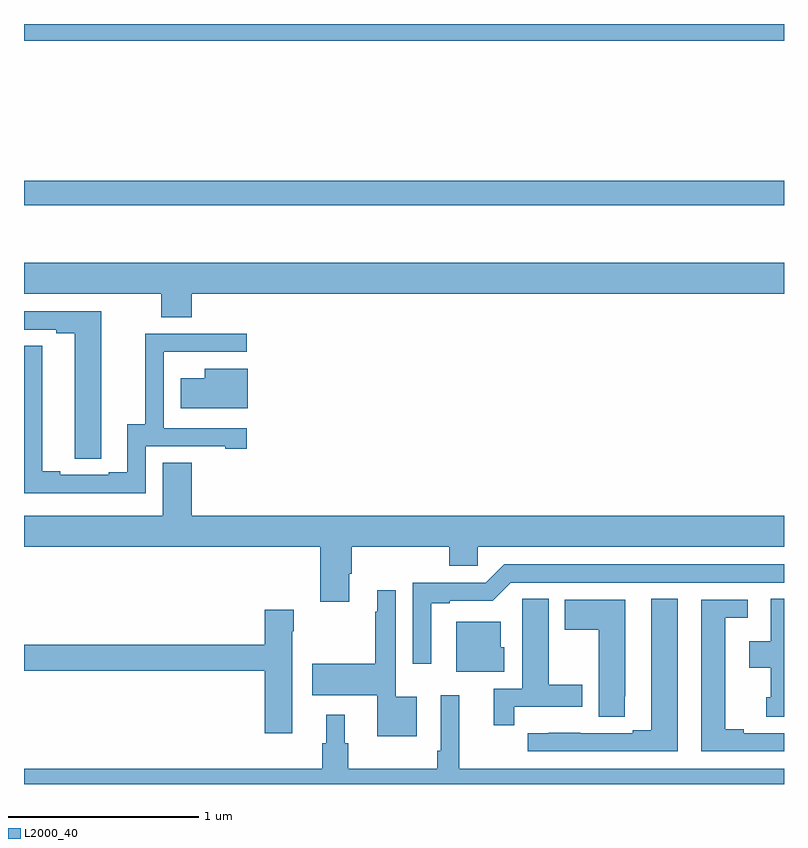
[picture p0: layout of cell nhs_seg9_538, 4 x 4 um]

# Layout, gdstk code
import gdstk
lib = gdstk.Library(unit=1e-6, precision=1e-09)
def R(c, l, rs):  # rectangles x0, y0, x1, y1
    for r in rs: c.add(gdstk.rectangle(r[:2], r[2:], *l))
def P(c, l, *ps):  # polygons
    for p in ps: c.add(gdstk.Polygon(p, *l))
L2000_40 = (2000, 40)

nhs_seg9_538 = lib.new_cell('nhs_seg9_538')
R(nhs_seg9_538, L2000_40, [(137,1203.546,141,1203.674), (137,1204.412,141,1204.5)])
P(nhs_seg9_538, L2000_40, [(137.882,1203.08),(141,1203.08),(141,1203.244),(137,1203.244),(137,1203.08),(137.722,1203.08),(137.722,1202.956),(137.882,1202.956)],
  [(137.406,1202.32),(137.407,1202.32),(137.407,1202.988),(137,1202.988),(137,1202.892),(137.171,1202.892),(137.171,1202.872),(137.267,1202.872),(137.267,1202.212),(137.406,1202.212)],
  [(137.64,1202.277),(138.059,1202.277),(138.059,1202.265),(138.172,1202.265),(138.172,1202.373),(137.736,1202.373),(137.736,1202.774),(137.738,1202.774),(137.738,1202.775),(138.172,1202.775),(138.172,1202.871),(137.638,1202.871),(137.638,1202.393),(137.543,1202.393),(137.543,1202.142),(137.447,1202.142),(137.447,1202.127),(137.191,1202.127),(137.191,1202.147),(137.095,1202.147),(137.095,1202.807),(137,1202.807),(137,1202.031),(137.64,1202.031)],
  [(138.178,1202.686),(137.951,1202.686),(137.951,1202.635),(137.826,1202.635),(137.826,1202.477),(138.178,1202.477)],
  [(138.712,1201.606),(138.725,1201.606),(138.725,1201.748),(139.238,1201.748),(139.238,1201.65),(139.389,1201.65),(139.389,1201.748),(141,1201.748),(141,1201.912),(137.882,1201.912),(137.882,1202.192),(137.729,1202.192),(137.729,1201.912),(137,1201.912),(137,1201.748),(138.56,1201.748),(138.56,1201.458),(138.712,1201.458)],
  [(139.144,1201.452),(139.24,1201.452),(139.24,1201.464),(139.467,1201.464),(139.563,1201.56),(141,1201.56),(141,1201.656),(139.527,1201.656),(139.431,1201.56),(139.047,1201.56),(139.047,1201.134),(139.144,1201.134)],
  [(139.066,1200.958),(138.957,1200.958),(138.957,1201.519),(138.86,1201.519),(138.86,1201.406),(138.849,1201.406),(138.849,1201.134),(138.516,1201.134),(138.516,1200.968),(138.86,1200.968),(138.86,1200.752),(139.066,1200.752)],
  [(140.44,1201.475),(140.3,1201.475),(140.3,1200.783),(140.204,1200.783),(140.204,1200.768),(139.928,1200.768),(139.928,1200.769),(139.762,1200.769),(139.762,1200.768),(139.65,1200.768),(139.65,1200.672),(140.44,1200.672)],
  [(141,1201.475),(140.93,1201.475),(140.93,1201.252),(140.816,1201.252),(140.816,1201.112),(140.93,1201.112),(140.93,1200.957),(140.906,1200.957),(140.906,1200.855),(141,1200.855)],
  [(139.58,1200.906),(139.939,1200.906),(139.939,1201.023),(139.762,1201.023),(139.762,1201.475),(139.623,1201.475),(139.623,1201.364),(139.622,1201.364),(139.622,1201.002),(139.472,1201.002),(139.472,1200.81),(139.58,1200.81)],
  [(140.163,1200.961),(140.164,1200.961),(140.164,1201.471),(139.847,1201.471),(139.847,1201.312),(140.024,1201.312),(140.024,1200.853),(140.163,1200.853)],
  [(141,1200.768),(140.788,1200.768),(140.788,1200.788),(140.692,1200.788),(140.692,1201.374),(140.809,1201.374),(140.809,1201.47),(140.564,1201.47),(140.564,1200.672),(141,1200.672)],
  [(138.412,1201.304),(138.42,1201.304),(138.42,1201.417),(138.266,1201.417),(138.266,1201.232),(137,1201.232),(137,1201.096),(138.266,1201.096),(138.266,1200.768),(138.412,1200.768)],
  [(139.528,1201.221),(139.51,1201.221),(139.51,1201.354),(139.274,1201.354),(139.274,1201.091),(139.528,1201.091)],
  [(141,1200.58),(139.292,1200.58),(139.292,1200.967),(139.194,1200.967),(139.194,1200.676),(139.174,1200.676),(139.174,1200.58),(138.707,1200.58),(138.707,1200.714),(138.688,1200.714),(138.688,1200.865),(138.59,1200.865),(138.59,1200.714),(138.571,1200.714),(138.571,1200.58),(137,1200.58),(137,1200.5),(141,1200.5)])

lib.write_gds('nhs_seg9_538.gds')
